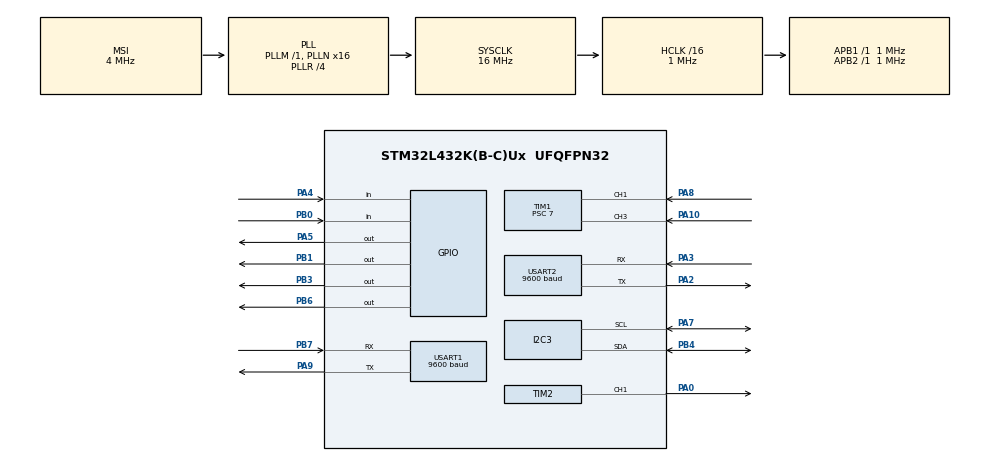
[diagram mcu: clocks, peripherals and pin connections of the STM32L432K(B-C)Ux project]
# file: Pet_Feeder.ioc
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FREERTOS.Tasks01=US_Water,8,128,StartDefaultTask,Default,NULL,Dynamic,NULL,NULL;US_Food,8,128,StartTask02,Default,NULL,Dynamic,NULL,NULL;Weight_Food,8,128,Measure_Weight_Food,Default,NULL,Dynamic,NULL,NULL;Weight_Water,8,128,Measure_Weight_Water,Default,NULL,Dynamic,NULL,NULL;WaterValve,8,128,Start_Water_Control,Default,NULL,Dynamic,NULL,NULL;FoodMotor,8,128,Food_Motor_Control,Default,NULL,Dynamic,NULL,NULL;Temp,8,128,StartTemp,Default,NULL,Dynamic,NULL,NULL
FREERTOS.configTOTAL_HEAP_SIZE=8000
I2C3.Timing=0x00000103
Mcu.Family=STM32L4
Mcu.Name=STM32L432K(B-C)Ux
Mcu.Package=UFQFPN32
NVIC.PriorityGroup=NVIC_PRIORITYGROUP_4
NVIC.TIM1_CC_IRQn=true\:5\:0\:false\:false\:true\:true\:true\:true
NVIC.TIM1_UP_TIM16_IRQn=true\:15\:0\:false\:false\:true\:false\:false\:true
NVIC.TimeBase=TIM1_UP_TIM16_IRQn
NVIC.TimeBaseIP=TIM16
PA0.Signal=S_TIM2_CH1
PA10.Signal=S_TIM1_CH3
PA13\ (JTMS-SWDIO).Mode=Serial_Wire
PA13\ (JTMS-SWDIO).Signal=SYS_JTMS-SWDIO
PA14\ (JTCK-SWCLK).Mode=Serial_Wire
PA14\ (JTCK-SWCLK).Signal=SYS_JTCK-SWCLK
PA2.Mode=Asynchronous
PA2.Signal=USART2_TX
PA3.Mode=Asynchronous
PA3.Signal=USART2_RX
PA4.Signal=GPIO_Input
PA5.Signal=GPIO_Output
PA7.Mode=I2C
PA7.Signal=I2C3_SCL
PA8.Signal=S_TIM1_CH1
PA9.Mode=Asynchronous
PA9.Signal=USART1_TX
PB0.Signal=GPIO_Input
PB1.Signal=GPIO_Output
PB3\ (JTDO-TRACESWO).Signal=GPIO_Output
PB4\ (NJTRST).Mode=I2C
PB4\ (NJTRST).Signal=I2C3_SDA
PB6.Signal=GPIO_Output
PB7.Mode=Asynchronous
PB7.Signal=USART1_RX
PC14-OSC32_IN\ (PC14).Mode=LSE-External-Oscillator
PC14-OSC32_IN\ (PC14).Signal=RCC_OSC32_IN
PC15-OSC32_OUT\ (PC15).Mode=LSE-External-Oscillator
PC15-OSC32_OUT\ (PC15).Signal=RCC_OSC32_OUT
ProjectManager.HeapSize=0x200
ProjectManager.StackSize=0x400
ProjectManager.TargetToolchain=MDK-ARM V5
RCC.AHBCLKDivider=RCC_SYSCLK_DIV16
RCC.AHBFreq_Value=1000000
RCC.APB1Freq_Value=1000000
RCC.APB1TimFreq_Value=1000000
RCC.APB2Freq_Value=1000000
RCC.APB2TimFreq_Value=1000000
RCC.CortexFreq_Value=1000000
RCC.HCLKFreq_Value=1000000
RCC.HSE_VALUE=8000000
RCC.HSI48_VALUE=48000000
RCC.HSI_VALUE=16000000
RCC.MSI_VALUE=4000000
RCC.PLLN=16
RCC.PLLR=RCC_PLLR_DIV4
RCC.SYSCLKFreq_VALUE=16000000
RCC.SYSCLKSource=RCC_SYSCLKSOURCE_PLLCLK
RCC.VCOOutputFreq_Value=64000000
SH.S_TIM1_CH1.0=TIM1_CH1,Input_Capture1_from_TI1
SH.S_TIM1_CH3.0=TIM1_CH3,Input_Capture3_from_TI3
SH.S_TIM2_CH1.0=TIM2_CH1,PWM Generation1 CH1
TIM1.Channel-Input_Capture1_from_TI1=TIM_CHANNEL_1
TIM1.Channel-Input_Capture3_from_TI3=TIM_CHANNEL_3
TIM1.Prescaler=7
TIM2.Channel-PWM\ Generation1\ CH1=TIM_CHANNEL_1
TIM2.Period=10
USART1.BaudRate=9600
USART1.VirtualMode-Asynchronous=VM_ASYNC
USART2.BaudRate=9600
USART2.VirtualMode-Asynchronous=VM_ASYNC
VP_FREERTOS_VS_CMSIS_V2.Mode=CMSIS_V2
VP_SYS_VS_tim16.Mode=TIM16
VP_TIM1_VS_ClockSourceINT.Mode=Internal
VP_TIM2_VS_ClockSourceINT.Mode=Internal
board=custom

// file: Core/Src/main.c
/* USER CODE BEGIN Header */
/**
  ******************************************************************************
  * @file           : main.c
  * @brief          : Main program body
  ******************************************************************************
  * @attention
  *
  * <h2><center>&copy; Copyright (c) 2021 STMicroelectronics.
  * All rights reserved.</center></h2>
  *
  * This software component is licensed by ST under Ultimate Liberty license
  * SLA0044, the "License"; You may not use this file except in compliance with
  * the License. You may obtain a copy of the License at:
  *                             www.st.com/SLA0044
  *
  ******************************************************************************
  */
/* USER CODE END Header */
#include "main.h"
#include "cmsis_os.h"
#include "stdio.h"
#include "hx711.h"

I2C_HandleTypeDef hi2c3;

TIM_HandleTypeDef htim1;
TIM_HandleTypeDef htim2;

UART_HandleTypeDef huart1;
UART_HandleTypeDef huart2;

/* Definitions for US_Water */
osThreadId_t US_WaterHandle;
const osThreadAttr_t US_Water_attributes = {
  .name = "US_Water",
  .stack_size = 128 * 4,
  .priority = (osPriority_t) osPriorityLow,
};
/* Definitions for US_Food */
osThreadId_t US_FoodHandle;
const osThreadAttr_t US_Food_attributes = {
  .name = "US_Food",
  .stack_size = 128 * 4,
  .priority = (osPriority_t) osPriorityLow,
};
/* Definitions for Weight_Food */
osThreadId_t Weight_FoodHandle;
const osThreadAttr_t Weight_Food_attributes = {
  .name = "Weight_Food",
  .stack_size = 128 * 4,
  .priority = (osPriority_t) osPriorityLow,
};
/* Definitions for Weight_Water */
osThreadId_t Weight_WaterHandle;
const osThreadAttr_t Weight_Water_attributes = {
  .name = "Weight_Water",
  .stack_size = 128 * 4,
  .priority = (osPriority_t) osPriorityLow,
};
/* Definitions for WaterValve */
osThreadId_t WaterValveHandle;
const osThreadAttr_t WaterValve_attributes = {
  .name = "WaterValve",
  .stack_size = 128 * 4,
  .priority = (osPriority_t) osPriorityLow,
};
/* Definitions for FoodMotor */
osThreadId_t FoodMotorHandle;
const osThreadAttr_t FoodMotor_attributes = {
  .name = "FoodMotor",
  .stack_size = 128 * 4,
  .priority = (osPriority_t) osPriorityLow,
};
/* Definitions for Temp */
osThreadId_t TempHandle;
const osThreadAttr_t Temp_attributes = {
  .name = "Temp",
  .stack_size = 128 * 4,
  .priority = (osPriority_t) osPriorityLow,
};

void SystemClock_Config(void);
static void MX_GPIO_Init(void);
static void MX_USART2_UART_Init(void);
static void MX_TIM1_Init(void);
static void MX_I2C3_Init(void);
static void MX_TIM2_Init(void);
static void MX_USART1_UART_Init(void);
void StartDefaultTask(void *argument);
void StartTask02(void *argument);
void Measure_Weight_Food(void *argument);
void Measure_Weight_Water(void *argument);
void Start_Water_Control(void *argument);
void Food_Motor_Control(void *argument);
void StartTemp(void *argument);
hx711_t loadcellFood;
int Foodweight;
hx711_t loadcellWater;
int waterWeight;
 uint8_t h1,h2,m1,m2,s1,s2;
uint32_t alarm1 = 1141;
int h1alarm =0;
int h2alarm=11;
int m1alarm = 4;
int m2alarm=0;
int s1alarm =5;
int s2alarm =1;
int OpenFoodDoor = 0;

int main(void)
{

  /* MCU Configuration--------------------------------------------------------*/

  /* Reset of all peripherals, Initializes the Flash interface and the Systick. */
  HAL_Init();

  /* Configure the system clock */
  SystemClock_Config();

  /* Initialize all configured peripherals */
  MX_GPIO_Init();
  MX_USART2_UART_Init();
  MX_TIM1_Init();
  MX_I2C3_Init();
  MX_TIM2_Init();
  MX_USART1_UART_Init();

  /* Init scheduler */
  osKernelInitialize();

  /* Create the thread(s) */
  /* creation of US_Water */
  US_WaterHandle = osThreadNew(StartDefaultTask, NULL, &US_Water_attributes);

  /* creation of US_Food */
  US_FoodHandle = osThreadNew(StartTask02, NULL, &US_Food_attributes);

  /* creation of Weight_Food */
  Weight_FoodHandle = osThreadNew(Measure_Weight_Food, NULL, &Weight_Food_attributes);

  /* creation of Weight_Water */
  Weight_WaterHandle = osThreadNew(Measure_Weight_Water, NULL, &Weight_Water_attributes);

  /* creation of WaterValve */
  WaterValveHandle = osThreadNew(Start_Water_Control, NULL, &WaterValve_attributes);

  /* creation of FoodMotor */
  FoodMotorHandle = osThreadNew(Food_Motor_Control, NULL, &FoodMotor_attributes);

  /* creation of Temp */
  TempHandle = osThreadNew(StartTemp, NULL, &Temp_attributes);

  /* Start scheduler */
  osKernelStart();

  /* We should never get here as control is now taken by the scheduler */
  /* Infinite loop */
  while (1)
  {

  }
}

void SystemClock_Config(void)
{
  RCC_OscInitTypeDef RCC_OscInitStruct = {0};
  RCC_ClkInitTypeDef RCC_ClkInitStruct = {0};

  /** Configure the main internal regulator output voltage
  */
  if (HAL_PWREx_ControlVoltageScaling(PWR_REGULATOR_VOLTAGE_SCALE1) != HAL_OK)
  {
    Error_Handler();
  }
  /** Configure LSE Drive Capability
  */
  HAL_PWR_EnableBkUpAccess();
  __HAL_RCC_LSEDRIVE_CONFIG(RCC_LSEDRIVE_LOW);
  /** Initializes the RCC Oscillators according to the specified parameters
  * in the RCC_OscInitTypeDef structure.
  */
  RCC_OscInitStruct.OscillatorType = RCC_OSCILLATORTYPE_LSE|RCC_OSCILLATORTYPE_MSI;
  RCC_OscInitStruct.LSEState = RCC_LSE_ON;
  RCC_OscInitStruct.MSIState = RCC_MSI_ON;
  RCC_OscInitStruct.MSICalibrationValue = 0;
  RCC_OscInitStruct.MSIClockRange = RCC_MSIRANGE_6;
  RCC_OscInitStruct.PLL.PLLState = RCC_PLL_ON;
  RCC_OscInitStruct.PLL.PLLSource = RCC_PLLSOURCE_MSI;
  RCC_OscInitStruct.PLL.PLLM = 1;
  RCC_OscInitStruct.PLL.PLLN = 16;
  RCC_OscInitStruct.PLL.PLLP = RCC_PLLP_DIV7;
  RCC_OscInitStruct.PLL.PLLQ = RCC_PLLQ_DIV2;
  RCC_OscInitStruct.PLL.PLLR = RCC_PLLR_DIV4;
  if (HAL_RCC_OscConfig(&RCC_OscInitStruct) != HAL_OK)
  {
    Error_Handler();
  }
  /** Initializes the CPU, AHB and APB buses clocks
  */
  RCC_ClkInitStruct.ClockType = RCC_CLOCKTYPE_HCLK|RCC_CLOCKTYPE_SYSCLK
                              |RCC_CLOCKTYPE_PCLK1|RCC_CLOCKTYPE_PCLK2;
  RCC_ClkInitStruct.SYSCLKSource = RCC_SYSCLKSOURCE_PLLCLK;
  RCC_ClkInitStruct.AHBCLKDivider = RCC_SYSCLK_DIV16;
  RCC_ClkInitStruct.APB1CLKDivider = RCC_HCLK_DIV1;
  RCC_ClkInitStruct.APB2CLKDivider = RCC_HCLK_DIV1;

  if (HAL_RCC_ClockConfig(&RCC_ClkInitStruct, FLASH_LATENCY_0) != HAL_OK)
  {
    Error_Handler();
  }
  /** Enable MSI Auto calibration
  */
  HAL_RCCEx_EnableMSIPLLMode();
}

static void MX_I2C3_Init(void)
{

  hi2c3.Instance = I2C3;
  hi2c3.Init.Timing = 0x00000103;
  hi2c3.Init.OwnAddress1 = 0;
  hi2c3.Init.AddressingMode = I2C_ADDRESSINGMODE_7BIT;
  hi2c3.Init.DualAddressMode = I2C_DUALADDRESS_DISABLE;
  hi2c3.Init.OwnAddress2 = 0;
  hi2c3.Init.OwnAddress2Masks = I2C_OA2_NOMASK;
  hi2c3.Init.GeneralCallMode = I2C_GENERALCALL_DISABLE;
  hi2c3.Init.NoStretchMode = I2C_NOSTRETCH_DISABLE;
  if (HAL_I2C_Init(&hi2c3) != HAL_OK)
  {
    Error_Handler();
  }
  /** Configure Analogue filter
  */
  if (HAL_I2CEx_ConfigAnalogFilter(&hi2c3, I2C_ANALOGFILTER_ENABLE) != HAL_OK)
  {
    Error_Handler();
  }
  /** Configure Digital filter
  */
  if (HAL_I2CEx_ConfigDigitalFilter(&hi2c3, 0) != HAL_OK)
  {
    Error_Handler();
  }

}

static void MX_TIM1_Init(void)
{

  TIM_ClockConfigTypeDef sClockSourceConfig = {0};
  TIM_MasterConfigTypeDef sMasterConfig = {0};
  TIM_IC_InitTypeDef sConfigIC = {0};

  htim1.Instance = TIM1;
  htim1.Init.Prescaler = 7;
  htim1.Init.CounterMode = TIM_COUNTERMODE_UP;
  htim1.Init.Period = 65535;
  htim1.Init.ClockDivision = TIM_CLOCKDIVISION_DIV1;
  htim1.Init.RepetitionCounter = 0;
  htim1.Init.AutoReloadPreload = TIM_AUTORELOAD_PRELOAD_DISABLE;
  if (HAL_TIM_Base_Init(&htim1) != HAL_OK)
  {
    Error_Handler();
  }
  sClockSourceConfig.ClockSource = TIM_CLOCKSOURCE_INTERNAL;
  if (HAL_TIM_ConfigClockSource(&htim1, &sClockSourceConfig) != HAL_OK)
  {
    Error_Handler();
  }
  if (HAL_TIM_IC_Init(&htim1) != HAL_OK)
  {
    Error_Handler();
  }
  sMasterConfig.MasterOutputTrigger = TIM_TRGO_RESET;
  sMasterConfig.MasterOutputTrigger2 = TIM_TRGO2_RESET;
  sMasterConfig.MasterSlaveMode = TIM_MASTERSLAVEMODE_DISABLE;
  if (HAL_TIMEx_MasterConfigSynchronization(&htim1, &sMasterConfig) != HAL_OK)
  {
    Error_Handler();
  }
  sConfigIC.ICPolarity = TIM_INPUTCHANNELPOLARITY_RISING;
  sConfigIC.ICSelection = TIM_ICSELECTION_DIRECTTI;
  sConfigIC.ICPrescaler = TIM_ICPSC_DIV1;
  sConfigIC.ICFilter = 0;
  if (HAL_TIM_IC_ConfigChannel(&htim1, &sConfigIC, TIM_CHANNEL_1) != HAL_OK)
  {
    Error_Handler();
  }
  if (HAL_TIM_IC_ConfigChannel(&htim1, &sConfigIC, TIM_CHANNEL_3) != HAL_OK)
  {
    Error_Handler();
  }

}

static void MX_TIM2_Init(void)
{

  TIM_ClockConfigTypeDef sClockSourceConfig = {0};
  TIM_MasterConfigTypeDef sMasterConfig = {0};
  TIM_OC_InitTypeDef sConfigOC = {0};

  htim2.Instance = TIM2;
  htim2.Init.Prescaler = 0;
  htim2.Init.CounterMode = TIM_COUNTERMODE_UP;
  htim2.Init.Period = 10;
  htim2.Init.ClockDivision = TIM_CLOCKDIVISION_DIV1;
  htim2.Init.AutoReloadPreload = TIM_AUTORELOAD_PRELOAD_DISABLE;
  if (HAL_TIM_Base_Init(&htim2) != HAL_OK)
  {
    Error_Handler();
  }
  sClockSourceConfig.ClockSource = TIM_CLOCKSOURCE_INTERNAL;
  if (HAL_TIM_ConfigClockSource(&htim2, &sClockSourceConfig) != HAL_OK)
  {
    Error_Handler();
  }
  if (HAL_TIM_PWM_Init(&htim2) != HAL_OK)
  {
    Error_Handler();
  }
  sMasterConfig.MasterOutputTrigger = TIM_TRGO_RESET;
  sMasterConfig.MasterSlaveMode = TIM_MASTERSLAVEMODE_DISABLE;
  if (HAL_TIMEx_MasterConfigSynchronization(&htim2, &sMasterConfig) != HAL_OK)
  {
    Error_Handler();
  }
  sConfigOC.OCMode = TIM_OCMODE_PWM1;
  sConfigOC.Pulse = 0;
  sConfigOC.OCPolarity = TIM_OCPOLARITY_HIGH;
  sConfigOC.OCFastMode = TIM_OCFAST_DISABLE;
  if (HAL_TIM_PWM_ConfigChannel(&htim2, &sConfigOC, TIM_CHANNEL_1) != HAL_OK)
  {
    Error_Handler();
  }
  HAL_TIM_MspPostInit(&htim2);

}

static void MX_USART1_UART_Init(void)
{

  huart1.Instance = USART1;
  huart1.Init.BaudRate = 9600;
  huart1.Init.WordLength = UART_WORDLENGTH_8B;
  huart1.Init.StopBits = UART_STOPBITS_1;
  huart1.Init.Parity = UART_PARITY_NONE;
  huart1.Init.Mode = UART_MODE_TX_RX;
  huart1.Init.HwFlowCtl = UART_HWCONTROL_NONE;
  huart1.Init.OverSampling = UART_OVERSAMPLING_16;
  huart1.Init.OneBitSampling = UART_ONE_BIT_SAMPLE_DISABLE;
  huart1.AdvancedInit.AdvFeatureInit = UART_ADVFEATURE_NO_INIT;
  if (HAL_UART_Init(&huart1) != HAL_OK)
  {
    Error_Handler();
  }

}

static void MX_USART2_UART_Init(void)
{

  huart2.Instance = USART2;
  huart2.Init.BaudRate = 9600;
  huart2.Init.WordLength = UART_WORDLENGTH_8B;
  huart2.Init.StopBits = UART_STOPBITS_1;
  huart2.Init.Parity = UART_PARITY_NONE;
  huart2.Init.Mode = UART_MODE_TX_RX;
  huart2.Init.HwFlowCtl = UART_HWCONTROL_NONE;
  huart2.Init.OverSampling = UART_OVERSAMPLING_16;
  huart2.Init.OneBitSampling = UART_ONE_BIT_SAMPLE_DISABLE;
  huart2.AdvancedInit.AdvFeatureInit = UART_ADVFEATURE_NO_INIT;
  if (HAL_UART_Init(&huart2) != HAL_OK)
  {
    Error_Handler();
  }

}

static void MX_GPIO_Init(void)
{
  GPIO_InitTypeDef GPIO_InitStruct = {0};

  /* GPIO Ports Clock Enable */
  __HAL_RCC_GPIOC_CLK_ENABLE();
  __HAL_RCC_GPIOA_CLK_ENABLE();
  __HAL_RCC_GPIOB_CLK_ENABLE();

  /*Configure GPIO pin Output Level */
  HAL_GPIO_WritePin(GPIOA, GPIO_PIN_5, GPIO_PIN_RESET);

  /*Configure GPIO pin Output Level */
  HAL_GPIO_WritePin(GPIOB, GPIO_PIN_1|GPIO_PIN_3|GPIO_PIN_6, GPIO_PIN_RESET);

  /*Configure GPIO pin : PA4 */
  GPIO_InitStruct.Pin = GPIO_PIN_4;
  GPIO_InitStruct.Mode = GPIO_MODE_INPUT;
  GPIO_InitStruct.Pull = GPIO_NOPULL;
  HAL_GPIO_Init(GPIOA, &GPIO_InitStruct);

  /*Configure GPIO pin : PA5 */
  GPIO_InitStruct.Pin = GPIO_PIN_5;
  GPIO_InitStruct.Mode = GPIO_MODE_OUTPUT_PP;
  GPIO_InitStruct.Pull = GPIO_NOPULL;
  GPIO_InitStruct.Speed = GPIO_SPEED_FREQ_LOW;
  HAL_GPIO_Init(GPIOA, &GPIO_InitStruct);

  /*Configure GPIO pin : PB0 */
  GPIO_InitStruct.Pin = GPIO_PIN_0;
  GPIO_InitStruct.Mode = GPIO_MODE_INPUT;
  GPIO_InitStruct.Pull = GPIO_NOPULL;
  HAL_GPIO_Init(GPIOB, &GPIO_InitStruct);

  /*Configure GPIO pins : PB1 PB3 PB6 */
  GPIO_InitStruct.Pin = GPIO_PIN_1|GPIO_PIN_3|GPIO_PIN_6;
  GPIO_InitStruct.Mode = GPIO_MODE_OUTPUT_PP;
  GPIO_InitStruct.Pull = GPIO_NOPULL;
  GPIO_InitStruct.Speed = GPIO_SPEED_FREQ_LOW;
  HAL_GPIO_Init(GPIOB, &GPIO_InitStruct);

}

void StartDefaultTask(void *argument)
{
  /* USER CODE BEGIN 5 */
  /* Infinite loop */
 if (HAL_I2C_IsDeviceReady(&hi2c3, 0xD0, 40, HAL_MAX_DELAY) == HAL_OK)
 {
 for (int i = 1; i<=10;i++) // indicator of ready device
 {
 HAL_GPIO_TogglePin(GPIOB, GPIO_PIN_3);
 osDelay(250);
 }
 }
 //Transmit via I2C to set clock to 7:15:35 am
 uint8_t secbuffer[2], minbuffer[2], hourbuffer[2];

 // seconds
 secbuffer[0] = 0x00; //register address
 secbuffer[1] = 0x00; //data to put in register --> 35 sec
 HAL_I2C_Master_Transmit(&hi2c3, 0xD0, secbuffer, 2, 40);

 // minutes
 minbuffer[0] = 0x01; //register address
 minbuffer[1] = 0x40; //data to put in register --> 15 min
 HAL_I2C_Master_Transmit(&hi2c3, 0xD0, minbuffer, 2, 40);
 // hours
 hourbuffer[0] = 0x02; //register address
 hourbuffer[1] = 0x4b; //data to put in register 01001001 --> 4b
  HAL_I2C_Master_Transmit(&hi2c3, 0xD0, hourbuffer, 2, 40);

 //Alarm2
 uint8_t Aminbuffer[2], Ahourbuffer[2], CtrlR[2], StatR[2];

 // minutes
 Aminbuffer[0] = 0x0b; //register address
 Aminbuffer[1] = 0x41; //data to put in register --> 41 min
 HAL_I2C_Master_Transmit(&hi2c3, 0xD0, Aminbuffer, 2, 40);
 // hours
 Ahourbuffer[0] = 0x0c; //register address
 Ahourbuffer[1] = 0x4b; //data to put in register 01001001 --> 4b
 HAL_I2C_Master_Transmit(&hi2c3, 0xD0, Ahourbuffer, 2, 40);

 CtrlR[0] = 0x0e; //register address
 CtrlR[1] = 0x1e; //register address
 HAL_I2C_Master_Transmit(&hi2c3, 0xD0, CtrlR, 2, 40);

 StatR[0] = 0x0f; //register address
 StatR[1] = 0x80; //register address
 HAL_I2C_Master_Transmit(&hi2c3, 0xD0, StatR, 2, 40);
/*
 int h1alarm = alarm1 / 1000;
 int h2alarm = (alarm1 % 1000)/100;
 int m1alarm = (alarm1 % 100)/10;
 int m2alarm = (alarm1 % 10);
*/

 //Receive via I2C and forward to UART
 char uartBuf [100] = {0};
		for(;;)
 {
 //send seconds register address 00h to read from
 HAL_I2C_Master_Transmit(&hi2c3, 0xD0, secbuffer, 1, 40);
 //read data of register 00h to secbuffer[1]
 HAL_I2C_Master_Receive(&hi2c3, 0xD1, secbuffer+1, 1, 40);
 //prepare UART output
 s1 = secbuffer[1] >> 4;
 s2 = secbuffer[1] & 0x0F;
 HAL_I2C_Master_Transmit(&hi2c3, 0xD0, minbuffer, 1, 40);
 HAL_I2C_Master_Receive(&hi2c3, 0xD1, minbuffer+1, 1, 40);
 m1 = minbuffer[1] >> 4;
 m2 = minbuffer[1] & 0x0F;
 HAL_I2C_Master_Transmit(&hi2c3, 0xD0, hourbuffer, 1, 40);
 HAL_I2C_Master_Receive(&hi2c3, 0xD1, hourbuffer+1, 1, 40);
 h1 = (hourbuffer[1] >> 4) & 1;
 h2 = hourbuffer[1] & 0x0F;
 // transmit time to UART
 sprintf(uartBuf, "%d%d:%d%d:%d%d\r\n",h1,h2,m1,m2,s1,s2);
 HAL_UART_Transmit(&huart2, (uint8_t *)uartBuf, sizeof(uartBuf), 40);
	 if((h1 == h1alarm) && (h2==h2alarm) &&(m1 == m1alarm) && (m2==m2alarm) && (s1 ==s1alarm) && (s2==s2alarm))
		 OpenFoodDoor = 1;
 osDelay(1000);
 }
  /* USER CODE END 5 */
}

int foodOrWater=0;
int flagforfood =0;
void StartTask02(void *argument)
{
  /* USER CODE BEGIN StartTask02 */
  /* Infinite loop */
	//char c[] = "Task 2\r\n";
		HAL_TIM_Base_Start (&htim1);
	HAL_GPIO_WritePin(GPIOB, GPIO_PIN_6, GPIO_PIN_RESET);
		for(;;)
	{
		//Ch1 Food
		//Ch2 Water
if (foodOrWater ==0)
{
    osDelay(1000);
		taskENTER_CRITICAL();
		HAL_GPIO_WritePin(GPIOB, GPIO_PIN_6, GPIO_PIN_SET);
    __HAL_TIM_SetCounter(&htim1,0);
	  while(__HAL_TIM_GetCounter (&htim1)<10);
		HAL_GPIO_WritePin(GPIOB, GPIO_PIN_6, GPIO_PIN_RESET);
		HAL_TIM_IC_Start_IT(&htim1,TIM_CHANNEL_1);
		taskEXIT_CRITICAL();
    osDelay(1000);

	foodOrWater =1;
}
else
{
    osDelay(1000);
				taskENTER_CRITICAL();
		HAL_GPIO_WritePin(GPIOB, GPIO_PIN_6, GPIO_PIN_SET);
    __HAL_TIM_SetCounter(&htim1,0);
	  while(__HAL_TIM_GetCounter (&htim1)<10);
		HAL_GPIO_WritePin(GPIOB, GPIO_PIN_6, GPIO_PIN_RESET);
		HAL_TIM_IC_Start_IT(&htim1,TIM_CHANNEL_3);
			taskEXIT_CRITICAL();
    osDelay(1000);

	foodOrWater =0;
}

    /* USER CODE BEGIN 3 */
  }
  /* USER CODE END StartTask02 */
}

void Measure_Weight_Food(void *argument)
{
  /* USER CODE BEGIN Measure_Weight_Food */
  /* Infinite loop */
	  taskENTER_CRITICAL();
	  hx711_init(&loadcellFood, GPIOA, GPIO_PIN_4, GPIOA, GPIO_PIN_5);
		hx711_coef_set(&loadcellFood, 146.5); // read afer calibration
		hx711_tare(&loadcellFood, 10);
		taskEXIT_CRITICAL();

	char out[4];
	char food[13]="Food Weight: ";
	char newline[2] = "\r\n";
  while(1)
  {
		osDelay(5000);
		taskENTER_CRITICAL();
    osDelay(500);
		Foodweight = hx711_weight(&loadcellFood, 10);
		Foodweight=Foodweight;
		sprintf(out,"%d",Foodweight);
		HAL_UART_Transmit(&huart2,(uint8_t *)food,sizeof(food),HAL_MAX_DELAY);
		HAL_UART_Transmit(&huart2,(uint8_t *)out,sizeof(out),HAL_MAX_DELAY);
		HAL_UART_Transmit(&huart2,(uint8_t *)newline,sizeof(newline),HAL_MAX_DELAY);
		taskEXIT_CRITICAL();

  }
  /* USER CODE END Measure_Weight_Food */
}

void Measure_Weight_Water(void *argument)
{
  /* USER CODE BEGIN Measure_Weight_Water */
  /* Infinite loop */
	//40567 is the max weight
  	taskENTER_CRITICAL();
    hx711_init(&loadcellWater, GPIOB, GPIO_PIN_0, GPIOB, GPIO_PIN_1);
    hx711_coef_set(&loadcellWater, 146.5); // read afer calibration
		hx711_tare(&loadcellWater, 10);
		taskEXIT_CRITICAL();

	char waterout[4];
	char newline[2] = "\r\n";
	char water[14]="Water Weight: ";

  while(1)
  {
		osDelay(5000);
		taskENTER_CRITICAL();
    osDelay(500);
		waterWeight = hx711_weight(&loadcellWater, 10);
		waterWeight=waterWeight;
		sprintf(waterout,"%d",waterWeight);

		HAL_UART_Transmit(&huart2,(uint8_t *)water,sizeof(water),HAL_MAX_DELAY);
		HAL_UART_Transmit(&huart2,(uint8_t *)waterout,sizeof(waterout),HAL_MAX_DELAY);
		HAL_UART_Transmit(&huart2,(uint8_t *)newline,sizeof(newline),HAL_MAX_DELAY);
		taskEXIT_CRITICAL();

  }

  /* USER CODE END Measure_Weight_Water */
}

void Start_Water_Control(void *argument)
{
  /* USER CODE BEGIN Start_Water_Control */
  /* Infinite loop */
  for(;;)
  {
		if(waterWeight < 350)

			HAL_GPIO_WritePin(GPIOB, GPIO_PIN_3, GPIO_PIN_SET);
		else
			HAL_GPIO_WritePin(GPIOB, GPIO_PIN_3, GPIO_PIN_RESET);
		//
  }
  /* USER CODE END Start_Water_Control */
}

void Food_Motor_Control(void *argument)
{
  /* USER CODE BEGIN Food_Motor_Control */
  /* Infinite loop */
		int pre = 0;
	//	HAL_TIM_PWM_Start(&htim2,TIM_CHANNEL_1);
	//__HAL_TIM_SET_COMPARE(&htim2,TIM_CHANNEL_1,5);
  for(;;)
  {

			if (OpenFoodDoor ==1)
			{
		HAL_TIM_PWM_Start(&htim2,TIM_CHANNEL_1);
	__HAL_TIM_SET_COMPARE(&htim2,TIM_CHANNEL_1,5);
			pre = 5;

			__HAL_TIM_SET_PRESCALER(&htim2,pre);
			osDelay(2000);

			pre = 800;

			__HAL_TIM_SET_PRESCALER(&htim2,pre);
			osDelay(2000);

			OpenFoodDoor =0;
			//HAL_TIM_PWM_Stop(&htim2,TIM_CHANNEL_1);
			}
			else
			{
				HAL_TIM_PWM_Stop(&htim2,TIM_CHANNEL_1);
			}

			//osDelay(500);

  }
  /* USER CODE END Food_Motor_Control */
}

void StartTemp(void *argument)
{
  for(;;)
  {
    osDelay(1);
  }
}

void HAL_TIM_PeriodElapsedCallback(TIM_HandleTypeDef *htim)
{
  if (htim->Instance == TIM16) {
    HAL_IncTick();
  }
}

void Error_Handler(void)
{
  __disable_irq();
  while (1)
  {
  }
}

/************************ (C) COPYRIGHT STMicroelectronics *****END OF FILE****/
